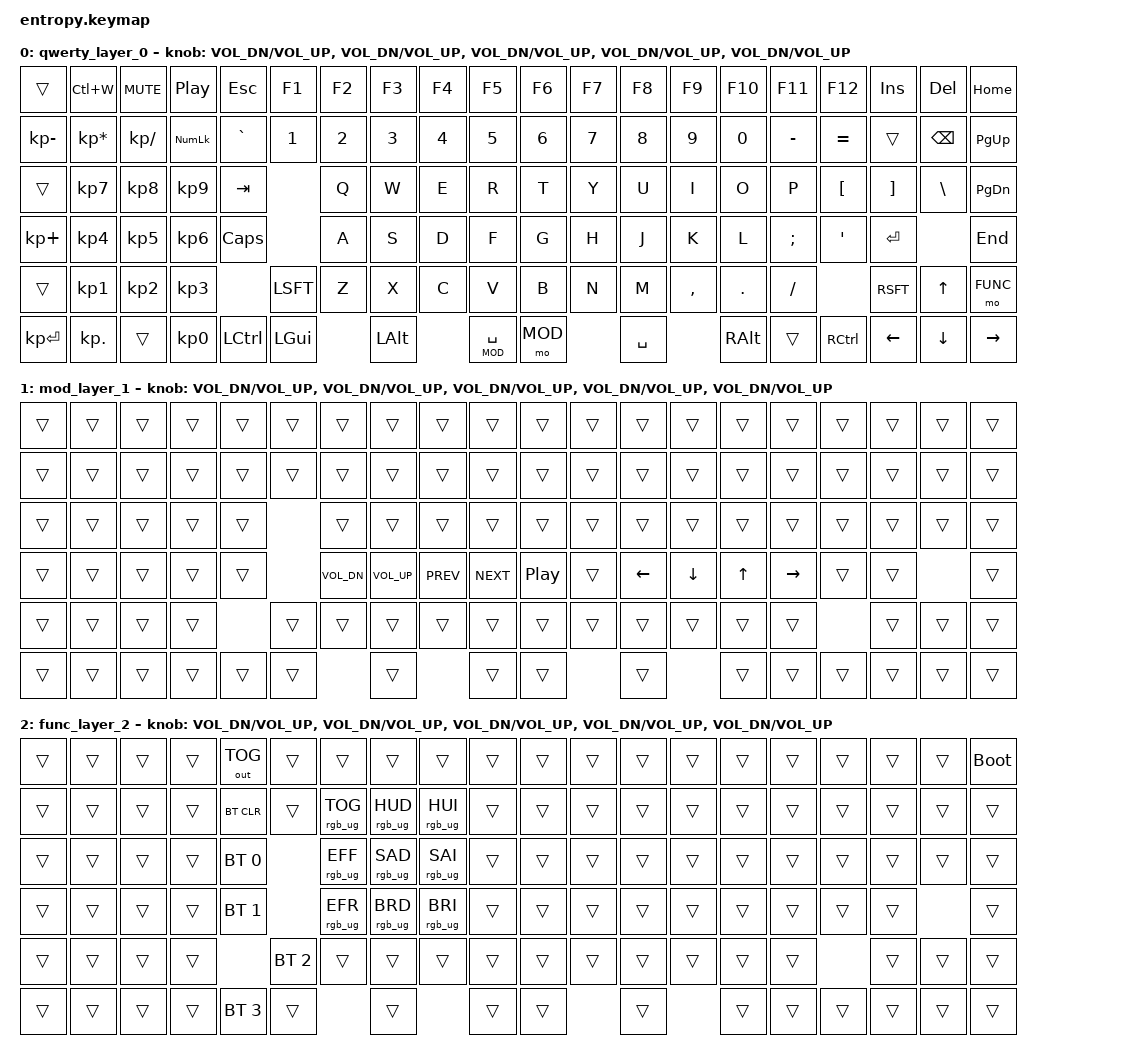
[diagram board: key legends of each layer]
/*
 * Copyright (c) 2021 Josh Johnson
 *
 * SPDX-License-Identifier: MIT
 */

#include <behaviors.dtsi>
#include <dt-bindings/zmk/keys.h>
#include <dt-bindings/zmk/rgb.h>
#include <dt-bindings/zmk/bt.h>
#include <dt-bindings/zmk/outputs.h>

#define QWER 0
#define MOD  1
#define FUNC 2

// "DNP" Denotes where a key can be placed but is not, " " is not a valid key position
// |   0   |   1   |   2   |   3   |   4   |   5   |   6   |   7   |   8   |   9   |   10  |   11  |   12  |   13  |   14  |   15  |   16  |   17  |   18  |   19  |
// |---------------------------------------------------------------------------------------------------------------------------------------------------------------|
// | TBD   | TBD   | MUTE  | PLAY  | ESC   | F1    | F2    | F3    | F4    | F5    | F6    | F7    | F8    | F9    | F10   | F11   | F12   | INSRT | DEL   | HOME  |
// | MNUS  | MUL   | DIV   | NLOCK | ~     | 1     | 2     | 3     | 4     | 5     | 6     | 7     | 8     | 9     | 0     | -     |  =    | DNP   | BSPC  | PGUP  |
// | PLUS  | 7     | 8     | 9     | TAB   |       | Q     | W     | E     | R     | T     | Y     | U     | I     | O     | P     | [     |  ]    | \     | PGDW  |
// | DNP   | 4     | 5     | 6     | CAPS  |       | A     | S     | D     | F     | G     | H     | J     | K     | L     | ;     | '     | ENTER |       | END   |
// | ENTER | 1     | 2     | 3     |       | SHIFT | Z     | X     | C     | V     | B     | N     | M     | ,     | .     | /     |       | SHFT  | UP    | RESET |
// | DNP   | DOT   | DNP   | 0     | CTRL  | GUI   |       | ALT   |       | LSPCE | SPACE |       | RSPC  |       | ALT   | DNP   | CTRL  | LEFT  | DOWN  | RIGHT |


/ {
	keymap {
		compatible = "zmk,keymap";

		qwerty_layer_0 {

    	bindings = <       
//  |   0        |   1           |   2         |   3        |   4     |   5     |   6  |   7     |   8  |   9         |   10    |   11 |   12    |   13   |   14   |   15    |   16    |   17     |   18   |   19          
    &trans       &kp LC(W)       &kp C_MUTE    &kp C_PP     &kp ESC   &kp F1    &kp F2 &kp F3    &kp F4 &kp F5        &kp F6    &kp F7 &kp F8    &kp F9   &kp F10  &kp F11   &kp F12   &kp INSERT &kp DEL  &kp HOME
    &kp KP_MINUS &kp KP_MULTIPLY &kp KP_DIVIDE &kp KP_NLCK  &kp GRAV  &kp N1    &kp N2 &kp N3    &kp N4 &kp N5        &kp N6    &kp N7 &kp N8    &kp N9   &kp N0   &kp MINUS &kp EQL   &trans     &kp BKSP &kp PG_UP
    &trans       &kp KP_N7       &kp KP_N8     &kp KP_N9    &kp TAB             &kp Q  &kp W     &kp E  &kp R         &kp T     &kp Y  &kp U     &kp I    &kp O    &kp P     &kp LBKT  &kp RBKT   &kp BSLH &kp PG_DN
    &kp KP_PLUS  &kp KP_N4       &kp KP_N5     &kp KP_N6    &kp CAPS            &kp A  &kp S     &kp D  &kp F         &kp G     &kp H  &kp J     &kp K    &kp L    &kp SEMI  &kp APOS  &kp ENTER           &kp END
    &trans       &kp KP_N1       &kp KP_N2     &kp KP_N3              &kp LSFT  &kp Z  &kp X     &kp C  &kp V         &kp B     &kp N  &kp M     &kp CMMA &kp DOT  &kp FSLH            &kp RSFT   &kp UP   &mo FUNC  
    &kp KP_ENTER &kp KP_DOT      &trans        &kp KP_N0    &kp LCTRL &kp LGUI         &kp LALT         &lt MOD SPACE &mo MOD          &kp SPACE          &kp RALT &trans    &kp RCTRL &kp LEFT   &kp DOWN &kp RIGHT
            >;

            sensor-bindings = <&inc_dec_kp C_VOL_DN C_VOL_UP &inc_dec_kp C_VOL_DN C_VOL_UP &inc_dec_kp C_VOL_DN C_VOL_UP &inc_dec_kp C_VOL_DN C_VOL_UP &inc_dec_kp C_VOL_DN C_VOL_UP>;
        };

		mod_layer_1 {

    	bindings = <       
//  |   0        |   1           |   2         |   3       |   4     |   5     |   6        |   7        |   8      |   9      |   10     |   11 |   12    |   13   |   14   |   15    |   16    |   17     |   18     |   19          
    &trans       &trans          &trans        &trans      &trans    &trans    &trans       &trans       &trans     &trans     &trans     &trans &trans    &trans   &trans   &trans    &trans    &trans     &trans     &trans   
    &trans       &trans          &trans        &trans      &trans    &trans    &trans       &trans       &trans     &trans     &trans     &trans &trans    &trans   &trans   &trans    &trans    &trans     &trans     &trans 
    &trans       &trans          &trans        &trans      &trans              &trans       &trans       &trans     &trans     &trans     &trans &trans    &trans   &trans   &trans    &trans    &trans     &trans     &trans
    &trans       &trans          &trans        &trans      &trans              &kp C_VOL_DN &kp C_VOL_UP &kp C_PREV &kp C_NEXT &kp C_PP   &trans &kp LEFT  &kp DOWN &kp UP   &kp RIGHT &trans    &trans                &trans
    &trans       &trans          &trans        &trans                &trans    &trans       &trans       &trans     &trans     &trans     &trans &trans    &trans   &trans   &trans              &trans     &trans     &trans  
    &trans       &trans          &trans        &trans      &trans    &trans                 &trans                  &trans     &trans            &trans             &trans   &trans    &trans    &trans     &trans     &trans
            >;

            sensor-bindings = <&inc_dec_kp C_VOL_DN C_VOL_UP &inc_dec_kp C_VOL_DN C_VOL_UP &inc_dec_kp C_VOL_DN C_VOL_UP &inc_dec_kp C_VOL_DN C_VOL_UP &inc_dec_kp C_VOL_DN C_VOL_UP>;
        };

		func_layer_2 {

    	bindings = <       
//  |   0        |   1           |   2           |   3       |   4        |   5        |   6           |   7           |   8           |   9       |   10    |   11  |   12    |   13   |   14   |   15    |   16    |   17     |   18     |   19          
    &trans       &trans          &trans          &trans      &out OUT_TOG &trans       &trans          &trans          &trans          &trans      &trans    &trans  &trans    &trans   &trans   &trans    &trans    &trans     &trans     &bootloader   
    &trans       &trans          &trans          &trans      &bt BT_CLR   &trans       &rgb_ug RGB_TOG &rgb_ug RGB_HUD &rgb_ug RGB_HUI &trans      &trans    &trans  &trans    &trans   &trans   &trans    &trans    &trans     &trans     &trans
    &trans       &trans          &trans          &trans      &bt BT_SEL 0              &rgb_ug RGB_EFF &rgb_ug RGB_SAD &rgb_ug RGB_SAI &trans      &trans    &trans  &trans    &trans   &trans   &trans    &trans    &trans     &trans     &trans
    &trans       &trans          &trans          &trans      &bt BT_SEL 1              &rgb_ug RGB_EFR &rgb_ug RGB_BRD &rgb_ug RGB_BRI &trans      &trans    &trans  &trans    &trans   &trans   &trans    &trans    &trans                &trans
    &trans       &trans          &trans          &trans                   &bt BT_SEL 2 &trans          &trans          &trans          &trans      &trans    &trans  &trans    &trans   &trans   &trans              &trans     &trans     &trans  
    &trans       &trans          &trans          &trans      &bt BT_SEL 3 &trans                       &trans                          &trans      &trans            &trans             &trans   &trans    &trans    &trans     &trans     &trans
            >;

            sensor-bindings = <&inc_dec_kp C_VOL_DN C_VOL_UP &inc_dec_kp C_VOL_DN C_VOL_UP &inc_dec_kp C_VOL_DN C_VOL_UP &inc_dec_kp C_VOL_DN C_VOL_UP &inc_dec_kp C_VOL_DN C_VOL_UP>;
        };
	};
};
